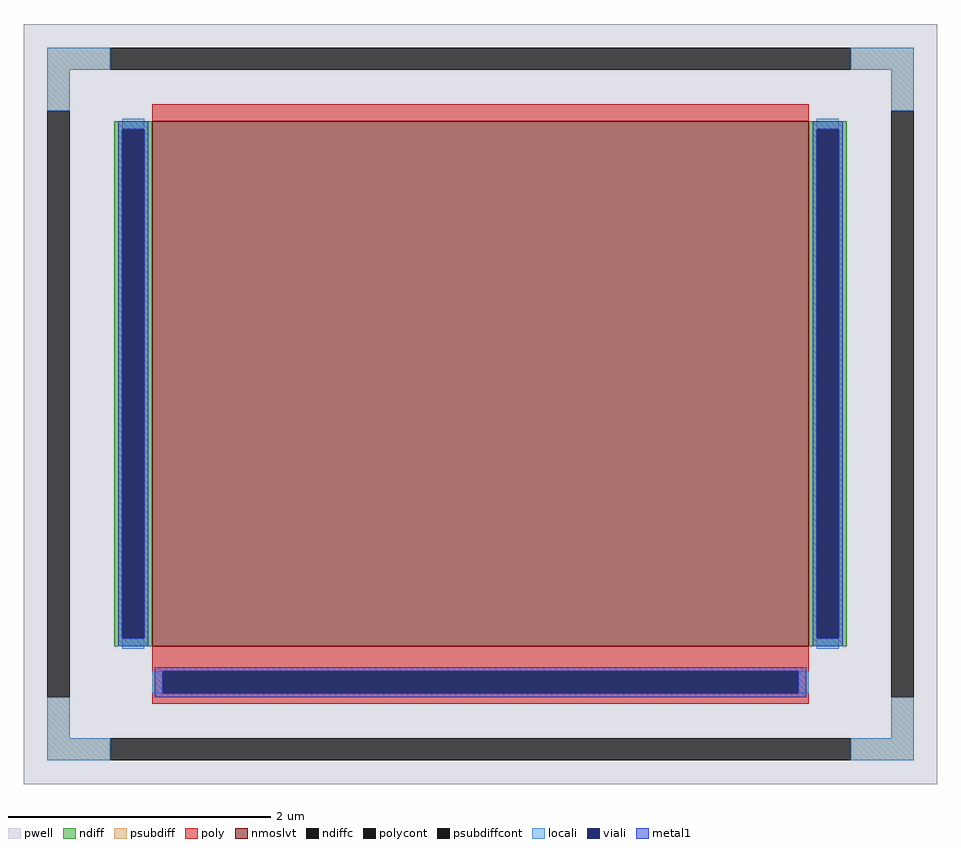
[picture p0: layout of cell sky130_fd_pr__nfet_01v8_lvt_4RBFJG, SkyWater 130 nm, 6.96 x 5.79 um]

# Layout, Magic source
magic
tech sky130A
magscale 1 2
<< pwell >>
rect -696 -579 696 579
<< nmoslvt >>
rect -500 -369 500 431
<< ndiff >>
rect -558 419 -500 431
rect -558 -357 -546 419
rect -512 -357 -500 419
rect -558 -369 -500 -357
rect 500 419 558 431
rect 500 -357 512 419
rect 546 -357 558 419
rect 500 -369 558 -357
<< ndiffc >>
rect -546 -357 -512 419
rect 512 -357 546 419
<< psubdiff >>
rect -660 509 -564 543
rect 564 509 660 543
rect -660 447 -626 509
rect 626 447 660 509
rect -660 -509 -626 -447
rect 626 -509 660 -447
rect -660 -543 -564 -509
rect 564 -543 660 -509
<< psubdiffcont >>
rect -564 509 564 543
rect -660 -447 -626 447
rect 626 -447 660 447
rect -564 -543 564 -509
<< poly >>
rect -500 431 500 457
rect -500 -407 500 -369
rect -500 -441 -484 -407
rect 484 -441 500 -407
rect -500 -457 500 -441
<< polycont >>
rect -484 -441 484 -407
<< locali >>
rect -660 509 -564 543
rect 564 509 660 543
rect -660 447 -626 509
rect 626 447 660 509
rect -546 419 -512 435
rect -546 -373 -512 -357
rect 512 419 546 435
rect 512 -373 546 -357
rect -500 -441 -484 -407
rect 484 -441 500 -407
rect -660 -509 -626 -447
rect 626 -509 660 -447
rect -660 -543 -564 -509
rect 564 -543 660 -509
<< viali >>
rect -546 -357 -512 419
rect 512 -357 546 419
rect -484 -441 484 -407
<< metal1 >>
rect -552 419 -506 431
rect -552 -357 -546 419
rect -512 -357 -506 419
rect -552 -369 -506 -357
rect 506 419 552 431
rect 506 -357 512 419
rect 546 -357 552 419
rect 506 -369 552 -357
rect -496 -407 496 -401
rect -496 -441 -484 -407
rect 484 -441 496 -407
rect -496 -447 496 -441
<< properties >>
string FIXED_BBOX -643 -526 643 526
string gencell sky130_fd_pr__nfet_01v8_lvt
string library sky130
string parameters w 4 l 5 m 1 nf 1 diffcov 100 polycov 100 guard 1 glc 1 grc 1 gtc 1 gbc 1 tbcov 100 rlcov 100 topc 0 botc 1 poverlap 0 doverlap 1 lmin 0.15 wmin 0.42 compatible {sky130_fd_pr__nfet_01v8 sky130_fd_pr__nfet_01v8_lvt  sky130_fd_bs_flash__special_sonosfet_star  sky130_fd_pr__nfet_g5v0d10v5 sky130_fd_pr__nfet_05v0_nvt  sky130_fd_pr__nfet_03v3_nvt} full_metal 1 viasrc 100 viadrn 100 viagate 100 viagb 0 viagr 0 viagl 0 viagt 0
<< end >>
